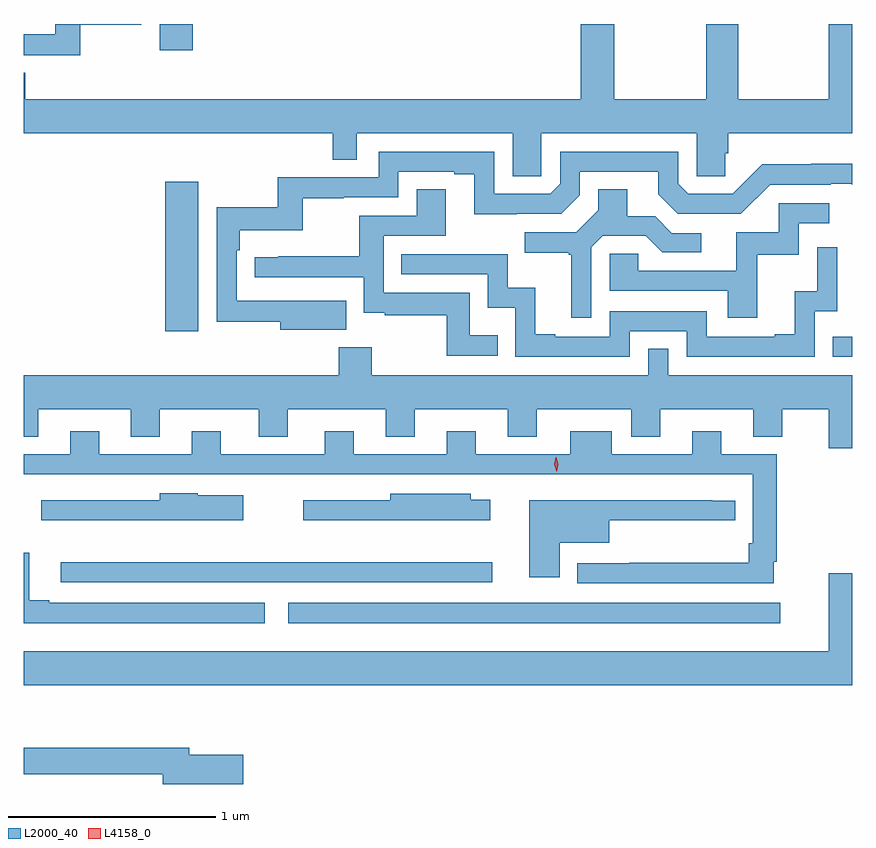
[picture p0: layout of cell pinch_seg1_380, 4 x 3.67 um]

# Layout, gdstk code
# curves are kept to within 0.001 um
import gdstk
lib = gdstk.Library(unit=1e-6, precision=1e-09)
def R(c, l, rs):  # rectangles x0, y0, x1, y1
    for r in rs: c.add(gdstk.rectangle(r[:2], r[2:], *l))
def P(c, l, *ps):  # polygons
    for p in ps: c.add(gdstk.Polygon(p, *l))
L2000_40 = (2000, 40)
L4158_0 = (4158, 0)

pinch_seg1_380 = lib.new_cell('pinch_seg1_380')
R(pinch_seg1_380, L2000_40, [(977.583,530.72,979.957,530.817), (976.485,530.916,978.568,531.014), (980.209,532.005,980.305,532.101), (976.988,532.128,977.149,532.849), (976.961,533.484,977.122,533.611)])
P(pinch_seg1_380, L2000_40, [(978.804,533.084),(979.554,533.084),(979.554,532.876),(979.691,532.876),(979.691,532.986),(979.706,532.986),(979.706,533.084),(980.305,533.084),(980.305,533.611),(980.192,533.611),(980.192,533.248),(979.755,533.248),(979.755,533.611),(979.6,533.611),(979.6,533.248),(979.155,533.248),(979.155,533.611),(978.995,533.611),(978.995,533.248),(976.313,533.248),(976.313,533.375),(976.305,533.375),(976.305,533.084),(977.797,533.084),(977.797,532.957),(977.913,532.957),(977.913,533.084),(978.665,533.084),(978.665,532.876),(978.804,532.876)],
  [(976.579,533.607),(976.872,533.607),(976.872,533.611),(976.458,533.611),(976.458,533.561),(976.305,533.561),(976.305,533.46),(976.579,533.46)],
  [(977.861,532.276),(977.334,532.275),(977.334,532.52),(977.348,532.52),(977.348,532.616),(977.653,532.616),(977.653,532.771),(977.849,532.771),(977.849,532.776),(978.114,532.776),(978.114,532.899),(978.383,532.899),(978.383,532.887),(978.479,532.887),(978.479,532.694),(978.9,532.695),(978.99,532.785),(978.99,532.899),(979.367,532.899),(979.367,532.789),(979.461,532.695),(979.767,532.695),(979.908,532.836),(980.201,532.836),(980.201,532.839),(980.3,532.839),(980.305,532.834),(980.305,532.936),(980.106,532.936),(980.106,532.933),(979.87,532.933),(979.728,532.791),(979.512,532.791),(979.464,532.839),(979.464,532.995),(978.894,532.995),(978.894,532.839),(978.846,532.791),(978.576,532.791),(978.576,532.995),(978.018,532.995),(978.018,532.872),(977.532,532.872),(977.532,532.726),(977.238,532.726),(977.238,532.174),(977.543,532.174),(977.543,532.136),(977.861,532.136)],
  [(978.593,532.108),(978.459,532.108),(978.459,532.314),(978.042,532.314),(978.042,532.59),(978.343,532.59),(978.343,532.814),(978.203,532.814),(978.203,532.686),(977.926,532.686),(977.926,532.49),(977.533,532.49),(977.533,532.485),(977.421,532.485),(977.421,532.389),(977.946,532.389),(977.946,532.217),(978.049,532.217),(978.049,532.206),(978.348,532.206),(978.348,532.011),(978.593,532.011)],
  [(979.044,532.533),(979.101,532.59),(979.307,532.59),(979.388,532.509),(979.576,532.509),(979.576,532.602),(979.434,532.602),(979.354,532.682),(979.219,532.682),(979.219,532.814),(979.079,532.814),(979.079,532.712),(978.972,532.605),(978.723,532.605),(978.723,532.508),(978.936,532.508),(978.936,532.497),(978.947,532.497),(978.947,532.194),(979.044,532.194)],
  [(979.847,532.497),(980.046,532.497),(980.046,532.65),(980.194,532.65),(980.194,532.746),(979.95,532.746),(979.95,532.605),(979.745,532.605),(979.745,532.419),(979.271,532.419),(979.271,532.503),(979.134,532.503),(979.134,532.323),(979.703,532.323),(979.703,532.194),(979.847,532.194)],
  [(979.23,532.128),(979.506,532.128),(979.506,532.005),(980.124,532.005),(980.124,532.224),(980.232,532.224),(980.232,532.534),(980.136,532.534),(980.136,532.322),(980.027,532.322),(980.027,532.114),(979.931,532.114),(979.931,532.101),(979.602,532.101),(979.602,532.224),(979.134,532.224),(979.134,532.101),(978.871,532.101),(978.871,532.114),(978.775,532.114),(978.775,532.339),(978.642,532.339),(978.642,532.5),(978.127,532.5),(978.127,532.404),(978.546,532.404),(978.546,532.241),(978.678,532.241),(978.678,532.005),(979.23,532.005)],
  [(980.305,531.916),(979.416,531.916),(979.416,532.043),(979.32,532.043),(979.32,531.916),(977.985,531.916),(977.985,532.051),(977.825,532.051),(977.825,531.916),(976.305,531.916),(976.305,531.619),(976.375,531.619),(976.375,531.752),(976.823,531.752),(976.823,531.619),(976.963,531.619),(976.963,531.752),(977.441,531.752),(977.441,531.619),(977.581,531.619),(977.581,531.752),(978.053,531.752),(978.053,531.619),(978.193,531.619),(978.193,531.752),(978.641,531.752),(978.641,531.619),(978.781,531.619),(978.781,531.752),(979.238,531.752),(979.238,531.619),(979.378,531.619),(979.378,531.752),(979.826,531.752),(979.826,531.619),(979.966,531.619),(979.966,531.752),(980.192,531.752),(980.192,531.564),(980.305,531.564)],
  [(979.925,531.016),(979.94,531.016),(979.94,531.534),(979.672,531.534),(979.672,531.646),(979.532,531.646),(979.532,531.534),(979.144,531.534),(979.144,531.646),(978.944,531.646),(978.944,531.534),(978.487,531.534),(978.487,531.646),(978.347,531.646),(978.347,531.534),(977.899,531.534),(977.899,531.646),(977.759,531.646),(977.759,531.534),(977.257,531.534),(977.257,531.646),(977.117,531.646),(977.117,531.534),(976.669,531.534),(976.669,531.646),(976.529,531.646),(976.529,531.534),(976.305,531.534),(976.305,531.438),(979.824,531.438),(979.824,531.106),(979.804,531.106),(979.804,531.011),(979.228,531.011),(979.228,531.009),(978.977,531.009),(978.977,530.913),(979.925,530.913)],
  [(977.365,531.337),(977.145,531.337),(977.145,531.346),(976.961,531.346),(976.961,531.312),(976.389,531.312),(976.389,531.215),(977.365,531.215)],
  [(978.556,531.316),(978.462,531.316),(978.462,531.343),(978.074,531.343),(978.074,531.312),(977.655,531.312),(977.655,531.215),(978.556,531.215)],
  [(978.892,531.107),(979.132,531.107),(979.132,531.215),(979.739,531.215),(979.739,531.311),(979.628,531.311),(979.628,531.312),(979.028,531.312),(979.028,531.313),(978.746,531.313),(978.746,530.94),(978.892,530.94)],
  [(977.47,530.817),(976.429,530.817),(976.429,530.83),(976.333,530.83),(976.333,531.058),(976.305,531.058),(976.305,530.72),(977.47,530.72)],
  [(980.305,530.959),(980.192,530.959),(980.192,530.584),(976.305,530.584),(976.305,530.42),(980.305,530.42)],
  [(977.365,530.085),(977.104,530.085),(977.104,530.119),(976.305,530.119),(976.305,529.99),(976.976,529.99),(976.976,529.943),(977.365,529.943)])
P(pinch_seg1_380, L4158_0, [(978.877,531.451),(978.877,531.451),(978.866,531.486),(978.874,531.521),(978.874,531.521),(978.875,531.521),(978.886,531.486),(978.877,531.451)])

lib.write_gds('pinch_seg1_380.gds')
